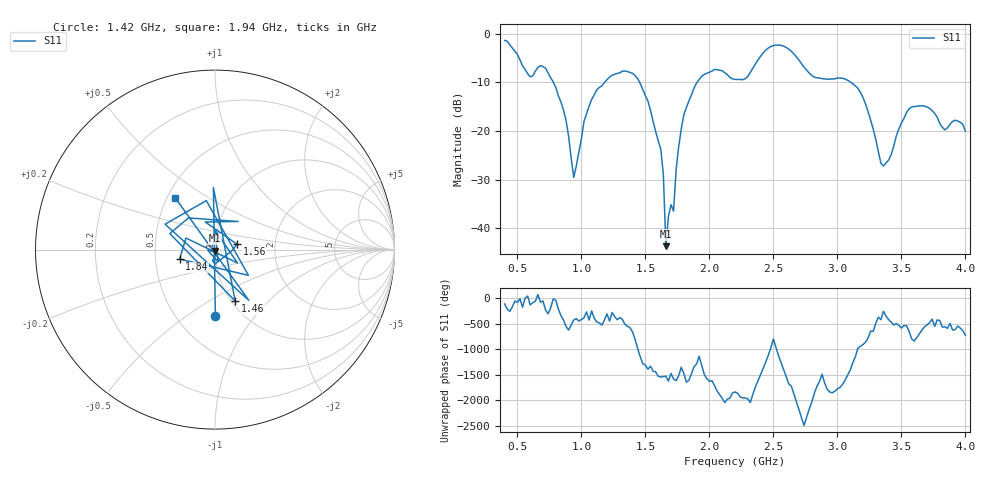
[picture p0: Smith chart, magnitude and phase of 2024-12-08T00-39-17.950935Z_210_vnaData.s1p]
!Created with skrf (http://scikit-rf.org).
# Hz S RI R 50.0
!freq ReS11 ImS11
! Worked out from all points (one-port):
!   181 points, 400 MHz to 4 GHz, reference 50 ohm
!   lowest |S11| = -43.7 dB at 1.66 GHz (marker M1), VSWR 1.01, Z = 50 - j0.651 ohm
!   |S11| at or under -10 dB: 781.5 MHz to 1.181 GHz (399.1 MHz wide, 40.7 % of centre); 1.455 GHz to 1.903 GHz (447.8 MHz wide, 26.7 % of centre); 3.105 GHz to end of sweep
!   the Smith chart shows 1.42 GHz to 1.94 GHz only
!   S11 on the Smith chart (normalised r, x): 1.42 GHz: 0.76, -0.66; 1.46 GHz: 1.04, -0.66; 1.56 GHz: 1.27, +0.08; 1.84 GHz: 0.67, -0.07; 1.94 GHz: 0.55, +0.37
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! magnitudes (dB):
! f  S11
! 400 MHz  -1.4
! 600 MHz  -8.9
! 720 MHz  -7.1
! 860 MHz  -15.7
! 940 MHz  -29.6
! 1.02 GHz  -18.0
! 1.08 GHz  -13.5
! 1.3 GHz  -8.0
! 1.42 GHz  -8.6
! 1.46 GHz  -10.2
! 1.56 GHz  -18.0
! 1.62 GHz  -23.8
! 1.64 GHz  -28.8
! 1.66 GHz  -43.7
! 1.7 GHz  -35.2
! 1.72 GHz  -36.5
! 1.76 GHz  -23.3
! 1.84 GHz  -13.8
! 1.94 GHz  -8.7
! 2.2 GHz  -9.4
! 2.48 GHz  -2.6
! 2.66 GHz  -4.1
! 2.82 GHz  -8.9
! 3.1 GHz  -9.9
! 3.2 GHz  -13.1
! 3.36 GHz  -27.2
! 3.56 GHz  -15.5
! 4 GHz  -20.0
